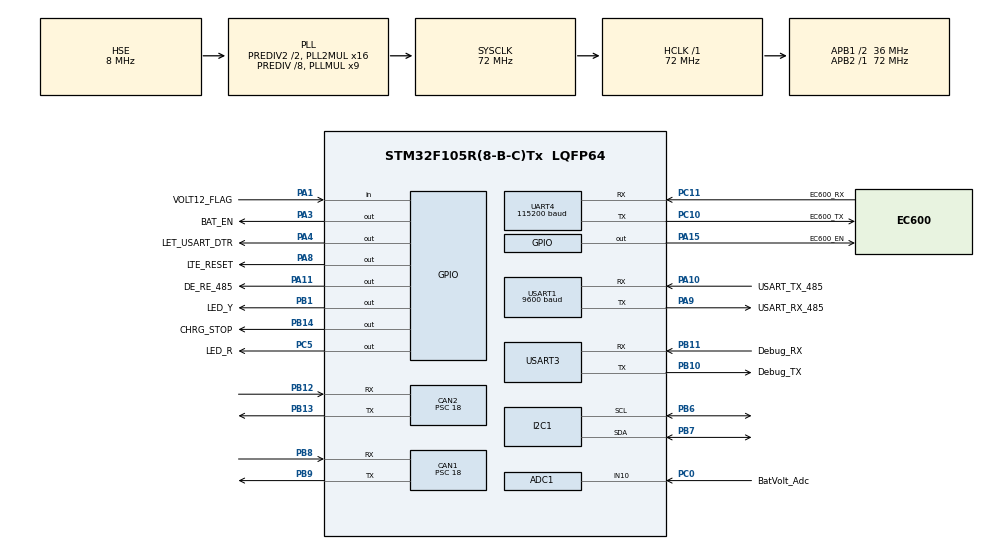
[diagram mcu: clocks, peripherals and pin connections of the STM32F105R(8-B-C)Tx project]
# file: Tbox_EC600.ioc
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ADC1.Channel-0\#ChannelRegularConversion=ADC_CHANNEL_10
ADC1.NbrOfConversionFlag=1
ADC1.Rank-0\#ChannelRegularConversion=1
ADC1.SamplingTime-0\#ChannelRegularConversion=ADC_SAMPLETIME_1CYCLE_5
ADC1.master=1
CAN1.ABOM=ENABLE
CAN1.BS1=CAN_BS1_5TQ
CAN1.BS2=CAN_BS2_2TQ
CAN1.CalculateBaudRate=250000
CAN1.CalculateTimeBit=4000
CAN1.CalculateTimeQuantum=500.0
CAN1.NART=ENABLE
CAN1.Prescaler=18
CAN2.ABOM=ENABLE
CAN2.BS1=CAN_BS1_5TQ
CAN2.BS2=CAN_BS2_2TQ
CAN2.CalculateBaudRate=250000
CAN2.CalculateTimeBit=4000
CAN2.CalculateTimeQuantum=500.0
CAN2.NART=ENABLE
CAN2.Prescaler=18
Dma.Request0=UART4_TX
Dma.UART4_TX.0.Direction=DMA_MEMORY_TO_PERIPH
Dma.UART4_TX.0.Instance=DMA2_Channel5
Dma.UART4_TX.0.MemDataAlignment=DMA_MDATAALIGN_BYTE
Dma.UART4_TX.0.MemInc=DMA_MINC_ENABLE
Dma.UART4_TX.0.Mode=DMA_NORMAL
Dma.UART4_TX.0.PeriphDataAlignment=DMA_PDATAALIGN_BYTE
Dma.UART4_TX.0.PeriphInc=DMA_PINC_DISABLE
Dma.UART4_TX.0.Priority=DMA_PRIORITY_LOW
FREERTOS.Queues01=msgIndexQ,16,uint16_t,0,Dynamic,NULL,NULL
FREERTOS.Tasks01=defaultTask,0,128,StartDefaultTask,Default,NULL,Dynamic,NULL,NULL;ec600ComTask,0,256,StartEC600Com,Default,NULL,Dynamic,NULL,NULL;powerControl,-3,128,powerControlFunc,Default,NULL,Dynamic,NULL,NULL;batterInfoSync,0,128,readBatteryInfo,Default,NULL,Dynamic,NULL,NULL
Mcu.Family=STM32F1
Mcu.Name=STM32F105R(8-B-C)Tx
Mcu.Package=LQFP64
NVIC.CAN1_RX0_IRQn=true\:5\:0\:false\:false\:true\:true\:true\:true\:true
NVIC.CAN2_RX0_IRQn=true\:5\:0\:false\:false\:true\:true\:true\:true\:true
NVIC.DMA2_Channel5_IRQn=true\:5\:0\:false\:false\:true\:true\:false\:true\:true
NVIC.PriorityGroup=NVIC_PRIORITYGROUP_4
NVIC.TIM1_UP_IRQn=true\:15\:0\:false\:false\:true\:false\:false\:true\:true
NVIC.TimeBase=TIM1_UP_IRQn
NVIC.TimeBaseIP=TIM1
NVIC.UART4_IRQn=true\:5\:0\:false\:false\:true\:true\:true\:true\:true
NVIC.USART1_IRQn=true\:5\:0\:false\:false\:true\:true\:true\:true\:true
PA0-WKUP.Mode=SYS_WakeUp0
PA0-WKUP.Signal=SYS_WKUP
PA1.GPIO_Label=VOLT12_FLAG
PA1.Signal=GPIO_Input
PA10.GPIO_Label=USART_TX_485
PA10.Mode=Asynchronous
PA10.Signal=USART1_RX
PA11.GPIO_Label=DE_RE_485
PA11.PinState=GPIO_PIN_SET
PA11.Signal=GPIO_Output
PA13.Mode=Serial_Wire
PA13.Signal=SYS_JTMS-SWDIO
PA14.Mode=Serial_Wire
PA14.Signal=SYS_JTCK-SWCLK
PA15.GPIO_Label=EC600_EN
PA15.PinState=GPIO_PIN_RESET
PA15.Signal=GPIO_Output
PA3.GPIO_Label=BAT_EN
PA3.PinState=GPIO_PIN_SET
PA3.Signal=GPIO_Output
PA4.GPIO_Label=LET_USART_DTR
PA4.Signal=GPIO_Output
PA8.GPIO_Label=LTE_RESET
PA8.Signal=GPIO_Output
PA9.GPIO_Label=USART_RX_485
PA9.Mode=Asynchronous
PA9.Signal=USART1_TX
PB1.GPIO_Label=LED_Y
PB1.PinState=GPIO_PIN_SET
PB1.Signal=GPIO_Output
PB10.GPIO_Label=Debug_TX
PB10.Mode=Asynchronous
PB10.Signal=USART3_TX
PB11.GPIO_Label=Debug_RX
PB11.Mode=Asynchronous
PB11.Signal=USART3_RX
PB12.Mode=CAN_Activate
PB12.Signal=CAN2_RX
PB13.Mode=CAN_Activate
PB13.Signal=CAN2_TX
PB14.GPIO_Label=CHRG_STOP
PB14.Signal=GPIO_Output
PB6.Mode=I2C
PB6.Signal=I2C1_SCL
PB7.Mode=I2C
PB7.Signal=I2C1_SDA
PB8.Mode=CAN_Activate
PB8.Signal=CAN1_RX
PB9.Mode=CAN_Activate
PB9.Signal=CAN1_TX
PC0.GPIO_Label=BatVolt_Adc
PC0.Signal=ADCx_IN10
PC10.GPIO_Label=EC600_TX
PC10.Mode=Asynchronous
PC10.Signal=UART4_TX
PC11.GPIO_Label=EC600_RX
PC11.Mode=Asynchronous
PC11.Signal=UART4_RX
PC5.GPIO_Label=LED_R
PC5.PinState=GPIO_PIN_SET
PC5.Signal=GPIO_Output
PD0-OSC_IN.Mode=HSE-External-Oscillator
PD0-OSC_IN.Signal=RCC_OSC_IN
PD1-OSC_OUT.Mode=HSE-External-Oscillator
PD1-OSC_OUT.Signal=RCC_OSC_OUT
ProjectManager.HeapSize=0x400
ProjectManager.StackSize=0x800
ProjectManager.TargetToolchain=MDK-ARM V5.32
RCC.ADCPresc=RCC_ADCPCLK2_DIV8
RCC.AHBFreq_Value=72000000
RCC.APB1CLKDivider=RCC_HCLK_DIV2
RCC.APB1Freq_Value=36000000
RCC.APB1TimFreq_Value=72000000
RCC.APB2Freq_Value=72000000
RCC.APB2TimFreq_Value=72000000
RCC.HCLKFreq_Value=72000000
RCC.HSEDivPLL=RCC_HSE_PREDIV_DIV8
RCC.PLL2Mul=RCC_PLL2_MUL16
RCC.PLLMUL=RCC_PLL_MUL9
RCC.PLLSourceVirtual=RCC_PLLSOURCE_HSE
RCC.Prediv1Source=RCC_PREDIV1_SOURCE_PLL2
RCC.Prediv2=RCC_HSE_PREDIV2_DIV2
RCC.SYSCLKFreq_VALUE=72000000
RCC.SYSCLKSource=RCC_SYSCLKSOURCE_PLLCLK
RCC.USBFreq_Value=48000000
SH.ADCx_IN10.0=ADC1_IN10,IN10
UART4.BaudRate=115200
UART4.VirtualMode=Asynchronous
USART1.BaudRate=9600
USART1.VirtualMode=VM_ASYNC
USART3.VirtualMode=VM_ASYNC
VP_FREERTOS_VS_CMSIS_V1.Mode=CMSIS_V1
VP_SYS_VS_tim1.Mode=TIM1
board=custom

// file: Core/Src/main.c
/* USER CODE BEGIN Header */
/**
  ******************************************************************************
  * @file           : main.c
  * @brief          : Main program body
  ******************************************************************************
  * @attention
  *
  * Copyright (c) 2022 STMicroelectronics.
  * All rights reserved.
  *
  * This software is licensed under terms that can be found in the LICENSE file
  * in the root directory of this software component.
  * If no LICENSE file comes with this software, it is provided AS-IS.
  *
  ******************************************************************************
  */
/* USER CODE END Header */
#include "main.h"
#include "cmsis_os.h"
#include "adc.h"
#include "can.h"
#include "dma.h"
#include "i2c.h"
#include "usart.h"
#include "gpio.h"

void SystemClock_Config(void);
void MX_FREERTOS_Init(void);

/* USER CODE BEGIN 0 */
uint8_t txData[8]={0x11,0x22,0x33,0x44,0x55,0x66,0x77,0x88};
canMsgType packData;
uint8_t rxData[10];
/* USER CODE END 0 */

int main(void)
{

  /* MCU Configuration--------------------------------------------------------*/

  /* Reset of all peripherals, Initializes the Flash interface and the Systick. */
  HAL_Init();

  /* Configure the system clock */
  SystemClock_Config();

  /* Initialize all configured peripherals */
  MX_GPIO_Init();
  MX_CAN1_Init();
  MX_CAN2_Init();
  MX_I2C1_Init();
  MX_USART1_UART_Init();
  MX_DMA_Init();
  MX_UART4_Init();
  MX_USART3_UART_Init();
  MX_ADC1_Init();
  /* USER CODE BEGIN 2 */
   ConfigFilter();

  HAL_CAN_Start(&hcan1);
  HAL_CAN_Start(&hcan2);

  HAL_CAN_ActivateNotification(&hcan1,CAN_IT_RX_FIFO0_MSG_PENDING);
  HAL_CAN_ActivateNotification(&hcan2,CAN_IT_RX_FIFO0_MSG_PENDING);

 // __HAL_UART_ENABLE_IT(&huart4,UART_IT_RXNE);
 //  HAL_UART_Receive_IT(&huart4,uart4RxData,1);
  /* USER CODE END 2 */

  /* Call init function for freertos objects (in freertos.c) */
  MX_FREERTOS_Init();

  /* Start scheduler */
  osKernelStart();

  /* We should never get here as control is now taken by the scheduler */
  /* Infinite loop */
  while (1)
  {

    /* USER CODE BEGIN 3 */

    if(HAL_UART_Receive(&huart4,rxData,1,10)== HAL_OK)
    {
        HAL_UART_Transmit(&huart4,rxData,1,100);
    }

  }
  /* USER CODE END 3 */
}

void SystemClock_Config(void)
{
  RCC_OscInitTypeDef RCC_OscInitStruct = {0};
  RCC_ClkInitTypeDef RCC_ClkInitStruct = {0};
  RCC_PeriphCLKInitTypeDef PeriphClkInit = {0};

  /** Initializes the RCC Oscillators according to the specified parameters
  * in the RCC_OscInitTypeDef structure.
  */
  RCC_OscInitStruct.OscillatorType = RCC_OSCILLATORTYPE_HSE;
  RCC_OscInitStruct.HSEState = RCC_HSE_ON;
  RCC_OscInitStruct.HSEPredivValue = RCC_HSE_PREDIV_DIV8;
  RCC_OscInitStruct.HSIState = RCC_HSI_ON;
  RCC_OscInitStruct.Prediv1Source = RCC_PREDIV1_SOURCE_PLL2;
  RCC_OscInitStruct.PLL.PLLState = RCC_PLL_ON;
  RCC_OscInitStruct.PLL.PLLSource = RCC_PLLSOURCE_HSE;
  RCC_OscInitStruct.PLL.PLLMUL = RCC_PLL_MUL9;
  RCC_OscInitStruct.PLL2.PLL2State = RCC_PLL2_ON;
  RCC_OscInitStruct.PLL2.PLL2MUL = RCC_PLL2_MUL16;
  RCC_OscInitStruct.PLL2.HSEPrediv2Value = RCC_HSE_PREDIV2_DIV2;
  if (HAL_RCC_OscConfig(&RCC_OscInitStruct) != HAL_OK)
  {
    Error_Handler();
  }

  /** Initializes the CPU, AHB and APB buses clocks
  */
  RCC_ClkInitStruct.ClockType = RCC_CLOCKTYPE_HCLK|RCC_CLOCKTYPE_SYSCLK
                              |RCC_CLOCKTYPE_PCLK1|RCC_CLOCKTYPE_PCLK2;
  RCC_ClkInitStruct.SYSCLKSource = RCC_SYSCLKSOURCE_PLLCLK;
  RCC_ClkInitStruct.AHBCLKDivider = RCC_SYSCLK_DIV1;
  RCC_ClkInitStruct.APB1CLKDivider = RCC_HCLK_DIV2;
  RCC_ClkInitStruct.APB2CLKDivider = RCC_HCLK_DIV1;

  if (HAL_RCC_ClockConfig(&RCC_ClkInitStruct, FLASH_LATENCY_2) != HAL_OK)
  {
    Error_Handler();
  }
  PeriphClkInit.PeriphClockSelection = RCC_PERIPHCLK_ADC;
  PeriphClkInit.AdcClockSelection = RCC_ADCPCLK2_DIV8;
  if (HAL_RCCEx_PeriphCLKConfig(&PeriphClkInit) != HAL_OK)
  {
    Error_Handler();
  }

  /** Configure the Systick interrupt time
  */
  __HAL_RCC_PLLI2S_ENABLE();
}

void HAL_TIM_PeriodElapsedCallback(TIM_HandleTypeDef *htim)
{
  if (htim->Instance == TIM1) {
    HAL_IncTick();
  }
}

void Error_Handler(void)
{
  /* USER CODE BEGIN Error_Handler_Debug */
  /* User can add his own implementation to report the HAL error return state */
  __disable_irq();
  HAL_GPIO_WritePin(LED_R_GPIO_Port,LED_R_Pin,GPIO_PIN_RESET); // yellow pin on
  HAL_GPIO_WritePin(LED_Y_GPIO_Port,LED_Y_Pin,GPIO_PIN_RESET); // yellow pin on
  while (1)
  {

  }
  /* USER CODE END Error_Handler_Debug */
}

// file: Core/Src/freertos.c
/* USER CODE BEGIN Header */
/**
  ******************************************************************************
  * File Name          : freertos.c
  * Description        : Code for freertos applications
  ******************************************************************************
  * @attention
  *
  * Copyright (c) 2022 STMicroelectronics.
  * All rights reserved.
  *
  * This software is licensed under terms that can be found in the LICENSE file
  * in the root directory of this software component.
  * If no LICENSE file comes with this software, it is provided AS-IS.
  *
  ******************************************************************************
  */
/* USER CODE END Header */

#include "FreeRTOS.h"
#include "task.h"
#include "main.h"
#include "cmsis_os.h"

/* USER CODE BEGIN Includes */
#include "usart.h"
#include "gpio.h"
#include "inv_mpu.h"
#include "can.h"
#include "stdio.h"
#include "string.h"
#include "adc.h"
/* USER CODE END Includes */

/* USER CODE BEGIN PD */
uint16_t internalBatVolt=0;
/* USER CODE END PD */

osThreadId defaultTaskHandle;
osThreadId ec600ComTaskHandle;
osThreadId powerControlHandle;
osThreadId batterInfoSyncHandle;
osMessageQId msgIndexQHandle;

void StartDefaultTask(void const * argument);
void StartEC600Com(void const * argument);
void powerControlFunc(void const * argument);
void readBatteryInfo(void const * argument);

void MX_FREERTOS_Init(void); /* (MISRA C 2004 rule 8.1) */

/* GetIdleTaskMemory prototype (linked to static allocation support) */
void vApplicationGetIdleTaskMemory( StaticTask_t **ppxIdleTaskTCBBuffer, StackType_t **ppxIdleTaskStackBuffer, uint32_t *pulIdleTaskStackSize );

/* USER CODE BEGIN GET_IDLE_TASK_MEMORY */
static StaticTask_t xIdleTaskTCBBuffer;
static StackType_t xIdleStack[configMINIMAL_STACK_SIZE];

void vApplicationGetIdleTaskMemory( StaticTask_t **ppxIdleTaskTCBBuffer, StackType_t **ppxIdleTaskStackBuffer, uint32_t *pulIdleTaskStackSize )
{
  *ppxIdleTaskTCBBuffer = &xIdleTaskTCBBuffer;
  *ppxIdleTaskStackBuffer = &xIdleStack[0];
  *pulIdleTaskStackSize = configMINIMAL_STACK_SIZE;
  /* place for user code */
}
/* USER CODE END GET_IDLE_TASK_MEMORY */

void MX_FREERTOS_Init(void) {

  /* Create the queue(s) */
  /* definition and creation of msgIndexQ */
  osMessageQDef(msgIndexQ, 16, uint16_t);
  msgIndexQHandle = osMessageCreate(osMessageQ(msgIndexQ), NULL);

  /* Create the thread(s) */
  /* definition and creation of defaultTask */
  osThreadDef(defaultTask, StartDefaultTask, osPriorityNormal, 0, 128);
  defaultTaskHandle = osThreadCreate(osThread(defaultTask), NULL);

  /* definition and creation of ec600ComTask */
  osThreadDef(ec600ComTask, StartEC600Com, osPriorityNormal, 0, 256);
  ec600ComTaskHandle = osThreadCreate(osThread(ec600ComTask), NULL);

  /* definition and creation of powerControl */
  osThreadDef(powerControl, powerControlFunc, osPriorityIdle, 0, 128);
  powerControlHandle = osThreadCreate(osThread(powerControl), NULL);

  /* definition and creation of batterInfoSync */
  osThreadDef(batterInfoSync, readBatteryInfo, osPriorityNormal, 0, 128);
  batterInfoSyncHandle = osThreadCreate(osThread(batterInfoSync), NULL);

}

void StartDefaultTask(void const * argument)
{
  /* USER CODE BEGIN StartDefaultTask */

  /* Infinite loop */
  for(;;)
  {
    osDelay(1000);

        //set trigger signal

  }
  /* USER CODE END StartDefaultTask */
}

void StartEC600Com(void const * argument)
{
  /* USER CODE BEGIN StartEC600Com */
    osEvent event;
    uint16_t index;
    uint8_t i=0;
    packData.head=0xDD;
    packData.tail=0xEE;
    for(i=0;i<20;i++)
    {
       packData.data[i]=i;
    }
   initJsonObj();

  /* Infinite loop */
  for(;;)
  {
    osDelay(10000);

    packJaon();
    HAL_UART_Transmit_DMA(&huart4,jsonData,jsonLen);

  }
  /* USER CODE END StartEC600Com */
}

void powerControlFunc(void const * argument)
{
  /* USER CODE BEGIN powerControlFunc */
    uint8_t lpmStartFlag=0;
   uint32_t startTs=0;
   uint8_t powerStatus=0;
    void * par;
    int ret = mpu_init(par);
    if(ret !=0) //MPU error
    {
        HAL_GPIO_WritePin(LED_Y_GPIO_Port,LED_Y_Pin,GPIO_PIN_RESET); // yellow pin on
    }
  /* Infinite loop */
  for(;;)
  {
    sndCANMsg();
    osDelay(100);

    HAL_ADC_Start(&hadc1);
    if(HAL_OK == HAL_ADC_PollForConversion(&hadc1,10))
    {
        internalBatVolt = HAL_ADC_GetValue(&hadc1);
        internalBatVolt = internalBatVolt*3300/4096*13/3/100;

    }

    powerStatus = readPowerSupplyStatus();
    if(powerStatus == 1)
    {
        startTs = osKernelSysTick();
        lpmStartFlag=0;
    }
    else if((powerStatus== 0)&&(lpmStartFlag==0))
    {
        startTs = osKernelSysTick();
        lpmStartFlag =1;
    }

    if((osKernelSysTick() - startTs) >200000)  //delay 20 seconds
    {
        //MCU enter stop mode
          if ( 0 != mpu_lp_motion_interrupt(1000, 1, 40))
          {
              printf("motion detect config err");
          }
          else
          {
              HAL_GPIO_WritePin(GPIOA,EC600_EN_Pin, GPIO_PIN_SET);
              HAL_PWR_EnableWakeUpPin(PWR_WAKEUP_PIN1);
              HAL_NVIC_ClearPendingIRQ(EXTI0_IRQn);		//PB0---MEMS INT
              PWR->CR|=1<<2;
              PWR->CR|=1<<3;
              HAL_SuspendTick();
              HAL_NVIC_DisableIRQ(TIM1_BRK_TIM9_IRQn);
              HAL_NVIC_DisableIRQ(TIM1_UP_TIM10_IRQn);
              HAL_NVIC_DisableIRQ(TIM1_TRG_COM_TIM11_IRQn);
              HAL_NVIC_ClearPendingIRQ(TIM1_BRK_TIM9_IRQn);
              HAL_NVIC_ClearPendingIRQ(TIM1_UP_TIM10_IRQn);
              HAL_NVIC_ClearPendingIRQ(TIM1_TRG_COM_TIM11_IRQn);
              HAL_PWR_EnterSTANDBYMode();
          }
      }

  }
  /* USER CODE END powerControlFunc */
}

void readBatteryInfo(void const * argument)
{
  /* USER CODE BEGIN readBatteryInfo */
  /* Infinite loop */
  for(;;)
  {

    readBmsRegs();
    osDelay(2000);

    readBmsID();
    osDelay(2000);
  }
  /* USER CODE END readBatteryInfo */
}
